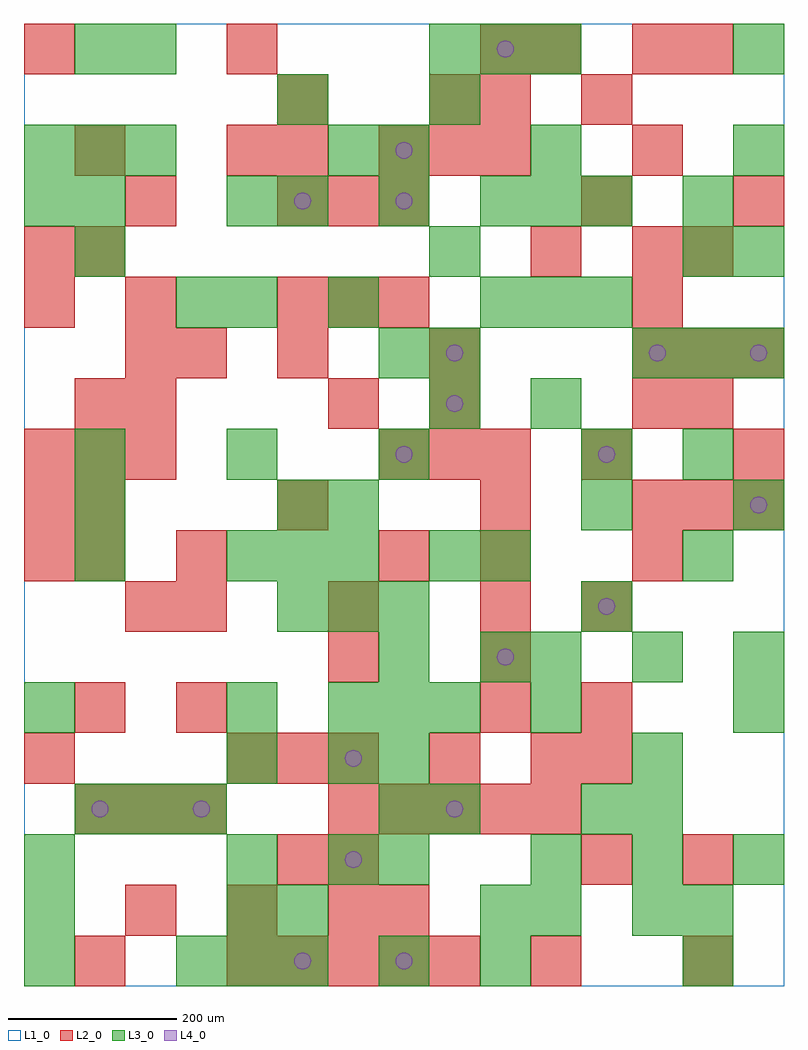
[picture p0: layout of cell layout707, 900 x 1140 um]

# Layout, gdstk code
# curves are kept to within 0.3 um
import gdstk
lib = gdstk.Library(unit=1e-6, precision=1e-09)
def R(c, l, rs):  # rectangles x0, y0, x1, y1
    for r in rs: c.add(gdstk.rectangle(r[:2], r[2:], *l))
def A(c, l, x, y, w, h, nx, ny, dx, dy):  # array of equal rectangles
    R(c, l, [(x+i*dx, y+j*dy, x+i*dx+w, y+j*dy+h) for i in range(nx) for j in range(ny)])
def P(c, l, *ps):  # polygons
    for p in ps: c.add(gdstk.Polygon(p, *l))
L1_0 = (1, 0)
L2_0 = (2, 0)
L3_0 = (3, 0)
L4_0 = (4, 0)

layout707 = lib.new_cell('layout707')
R(layout707, L1_0, [(0,0,900,1140)])
A(layout707, L2_0, 240, 0, 60, 60, 5, 1, 60, 0)
A(layout707, L2_0, 120, 60, 60, 60, 3, 1, 120, 0)
A(layout707, L2_0, 60, 180, 60, 60, 3, 1, 60, 0)
A(layout707, L2_0, 360, 180, 60, 60, 5, 1, 60, 0)
A(layout707, L2_0, 240, 240, 60, 60, 3, 1, 60, 0)
A(layout707, L2_0, 60, 300, 60, 60, 1, 4, 0, 180)
A(layout707, L2_0, 180, 420, 60, 60, 3, 1, 180, 0)
A(layout707, L2_0, 60, 540, 60, 60, 3, 1, 240, 0)
A(layout707, L2_0, 720, 540, 60, 60, 3, 2, 60, 180)
A(layout707, L2_0, 0, 600, 60, 60, 3, 1, 60, 0)
A(layout707, L2_0, 420, 600, 60, 60, 3, 2, 60, 360)
A(layout707, L2_0, 120, 660, 60, 60, 1, 3, 0, 60)
A(layout707, L2_0, 300, 780, 60, 60, 3, 2, 60, 120)
A(layout707, L2_0, 720, 840, 60, 60, 1, 3, 0, 120)
R(layout707, L2_0, [(60,0,120,60), (600,0,660,60), (780,0,840,60), (420,60,480,120), (300,120,360,180), (360,120,420,180), (660,120,720,180), (780,120,840,180), (0,240,60,300), (480,240,540,300), (600,240,660,300), (660,240,720,300), (180,300,240,360), (540,300,600,360), (660,300,720,360), (360,360,420,420), (540,360,600,420), (120,420,180,480), (660,420,720,480), (0,480,60,540), (180,480,240,540), (420,480,480,540), (540,480,600,540), (720,480,780,540), (0,540,60,600), (660,600,720,660), (840,600,900,660), (360,660,420,720), (480,660,540,720), (720,660,780,720), (780,660,840,720), (180,720,240,780), (300,720,360,780), (480,720,540,780), (0,780,60,840), (720,780,780,840), (0,840,60,900), (600,840,660,900), (780,840,840,900), (120,900,180,960), (660,900,720,960), (840,900,900,960), (60,960,120,1020), (240,960,300,1020), (300,960,360,1020), (300,1020,360,1080), (480,1020,540,1080), (540,1020,600,1080), (660,1020,720,1080), (0,1080,60,1140), (240,1080,300,1140), (540,1080,600,1140), (600,1080,660,1140), (780,1080,840,1140)])
A(layout707, L3_0, 0, 0, 60, 60, 1, 3, 0, 60)
A(layout707, L3_0, 180, 0, 60, 60, 3, 1, 60, 0)
A(layout707, L3_0, 300, 60, 60, 60, 1, 3, 0, 480)
A(layout707, L3_0, 420, 120, 60, 60, 1, 3, 0, 60)
A(layout707, L3_0, 600, 120, 60, 60, 3, 2, 120, 240)
A(layout707, L3_0, 60, 180, 60, 60, 3, 1, 60, 0)
A(layout707, L3_0, 360, 300, 60, 60, 3, 1, 60, 0)
A(layout707, L3_0, 300, 420, 60, 60, 3, 1, 60, 0)
A(layout707, L3_0, 240, 480, 60, 60, 3, 1, 60, 0)
A(layout707, L3_0, 60, 600, 60, 60, 3, 1, 180, 0)
A(layout707, L3_0, 720, 720, 60, 60, 3, 1, 60, 0)
A(layout707, L3_0, 540, 780, 60, 60, 3, 1, 60, 0)
A(layout707, L3_0, 840, 840, 60, 60, 1, 3, 0, 120)
A(layout707, L3_0, 300, 900, 60, 60, 3, 1, 120, 0)
A(layout707, L3_0, 0, 960, 60, 60, 3, 1, 60, 0)
A(layout707, L3_0, 480, 1080, 60, 60, 3, 1, 60, 0)
R(layout707, L3_0, [(420,0,480,60), (540,0,600,60), (780,0,840,60), (240,60,300,120), (540,60,600,120), (600,60,660,120), (720,60,780,120), (780,60,840,120), (240,120,300,180), (360,120,420,180), (480,180,540,240), (660,180,720,240), (720,180,780,240), (240,240,300,300), (360,240,420,300), (720,240,780,300), (0,300,60,360), (240,300,300,360), (600,300,660,360), (840,300,900,360), (420,360,480,420), (540,360,600,420), (660,420,720,480), (60,480,120,540), (480,480,540,540), (540,480,600,540), (780,480,840,540), (60,540,120,600), (360,540,420,600), (660,540,720,600), (840,540,900,600), (660,600,720,660), (780,600,840,660), (480,660,540,720), (600,660,660,720), (420,720,480,780), (480,720,540,780), (180,780,240,840), (240,780,300,840), (360,780,420,840), (60,840,120,900), (480,840,540,900), (780,840,840,900), (0,900,60,960), (60,900,120,960), (240,900,300,960), (600,900,660,960), (660,900,720,960), (780,900,840,960), (360,960,420,1020), (420,960,480,1020), (600,960,660,1020), (480,1020,540,1080), (60,1080,120,1140), (120,1080,180,1140)])
P(layout707, L4_0, [(100,210),(99.239,213.827),(97.071,217.071),(93.827,219.239),(90,220),(86.173,219.239),(82.929,217.071),(80.761,213.827),(80,210),(80.761,206.173),(82.929,202.929),(86.173,200.761),(90,200),(93.827,200.761),(97.071,202.929),(99.239,206.173)],
  [(220,210),(219.239,213.827),(217.071,217.071),(213.827,219.239),(210,220),(206.173,219.239),(202.929,217.071),(200.761,213.827),(200,210),(200.761,206.173),(202.929,202.929),(206.173,200.761),(210,200),(213.827,200.761),(217.071,202.929),(219.239,206.173)],
  [(340,30),(339.239,33.827),(337.071,37.071),(333.827,39.239),(330,40),(326.173,39.239),(322.929,37.071),(320.761,33.827),(320,30),(320.761,26.173),(322.929,22.929),(326.173,20.761),(330,20),(333.827,20.761),(337.071,22.929),(339.239,26.173)],
  [(340,930),(339.239,933.827),(337.071,937.071),(333.827,939.239),(330,940),(326.173,939.239),(322.929,937.071),(320.761,933.827),(320,930),(320.761,926.173),(322.929,922.929),(326.173,920.761),(330,920),(333.827,920.761),(337.071,922.929),(339.239,926.173)],
  [(400,150),(399.239,153.827),(397.071,157.071),(393.827,159.239),(390,160),(386.173,159.239),(382.929,157.071),(380.761,153.827),(380,150),(380.761,146.173),(382.929,142.929),(386.173,140.761),(390,140),(393.827,140.761),(397.071,142.929),(399.239,146.173)],
  [(400,270),(399.239,273.827),(397.071,277.071),(393.827,279.239),(390,280),(386.173,279.239),(382.929,277.071),(380.761,273.827),(380,270),(380.761,266.173),(382.929,262.929),(386.173,260.761),(390,260),(393.827,260.761),(397.071,262.929),(399.239,266.173)],
  [(460,30),(459.239,33.827),(457.071,37.071),(453.827,39.239),(450,40),(446.173,39.239),(442.929,37.071),(440.761,33.827),(440,30),(440.761,26.173),(442.929,22.929),(446.173,20.761),(450,20),(453.827,20.761),(457.071,22.929),(459.239,26.173)],
  [(460,630),(459.239,633.827),(457.071,637.071),(453.827,639.239),(450,640),(446.173,639.239),(442.929,637.071),(440.761,633.827),(440,630),(440.761,626.173),(442.929,622.929),(446.173,620.761),(450,620),(453.827,620.761),(457.071,622.929),(459.239,626.173)],
  [(460,930),(459.239,933.827),(457.071,937.071),(453.827,939.239),(450,940),(446.173,939.239),(442.929,937.071),(440.761,933.827),(440,930),(440.761,926.173),(442.929,922.929),(446.173,920.761),(450,920),(453.827,920.761),(457.071,922.929),(459.239,926.173)],
  [(460,990),(459.239,993.827),(457.071,997.071),(453.827,999.239),(450,1000),(446.173,999.239),(442.929,997.071),(440.761,993.827),(440,990),(440.761,986.173),(442.929,982.929),(446.173,980.761),(450,980),(453.827,980.761),(457.071,982.929),(459.239,986.173)],
  [(520,210),(519.239,213.827),(517.071,217.071),(513.827,219.239),(510,220),(506.173,219.239),(502.929,217.071),(500.761,213.827),(500,210),(500.761,206.173),(502.929,202.929),(506.173,200.761),(510,200),(513.827,200.761),(517.071,202.929),(519.239,206.173)],
  [(520,690),(519.239,693.827),(517.071,697.071),(513.827,699.239),(510,700),(506.173,699.239),(502.929,697.071),(500.761,693.827),(500,690),(500.761,686.173),(502.929,682.929),(506.173,680.761),(510,680),(513.827,680.761),(517.071,682.929),(519.239,686.173)],
  [(520,750),(519.239,753.827),(517.071,757.071),(513.827,759.239),(510,760),(506.173,759.239),(502.929,757.071),(500.761,753.827),(500,750),(500.761,746.173),(502.929,742.929),(506.173,740.761),(510,740),(513.827,740.761),(517.071,742.929),(519.239,746.173)],
  [(580,390),(579.239,393.827),(577.071,397.071),(573.827,399.239),(570,400),(566.173,399.239),(562.929,397.071),(560.761,393.827),(560,390),(560.761,386.173),(562.929,382.929),(566.173,380.761),(570,380),(573.827,380.761),(577.071,382.929),(579.239,386.173)],
  [(580,1110),(579.239,1113.827),(577.071,1117.071),(573.827,1119.239),(570,1120),(566.173,1119.239),(562.929,1117.071),(560.761,1113.827),(560,1110),(560.761,1106.173),(562.929,1102.929),(566.173,1100.761),(570,1100),(573.827,1100.761),(577.071,1102.929),(579.239,1106.173)],
  [(700,450),(699.239,453.827),(697.071,457.071),(693.827,459.239),(690,460),(686.173,459.239),(682.929,457.071),(680.761,453.827),(680,450),(680.761,446.173),(682.929,442.929),(686.173,440.761),(690,440),(693.827,440.761),(697.071,442.929),(699.239,446.173)],
  [(700,630),(699.239,633.827),(697.071,637.071),(693.827,639.239),(690,640),(686.173,639.239),(682.929,637.071),(680.761,633.827),(680,630),(680.761,626.173),(682.929,622.929),(686.173,620.761),(690,620),(693.827,620.761),(697.071,622.929),(699.239,626.173)],
  [(760,750),(759.239,753.827),(757.071,757.071),(753.827,759.239),(750,760),(746.173,759.239),(742.929,757.071),(740.761,753.827),(740,750),(740.761,746.173),(742.929,742.929),(746.173,740.761),(750,740),(753.827,740.761),(757.071,742.929),(759.239,746.173)],
  [(880,570),(879.239,573.827),(877.071,577.071),(873.827,579.239),(870,580),(866.173,579.239),(862.929,577.071),(860.761,573.827),(860,570),(860.761,566.173),(862.929,562.929),(866.173,560.761),(870,560),(873.827,560.761),(877.071,562.929),(879.239,566.173)],
  [(880,750),(879.239,753.827),(877.071,757.071),(873.827,759.239),(870,760),(866.173,759.239),(862.929,757.071),(860.761,753.827),(860,750),(860.761,746.173),(862.929,742.929),(866.173,740.761),(870,740),(873.827,740.761),(877.071,742.929),(879.239,746.173)])

lib.write_gds('layout707.gds')
